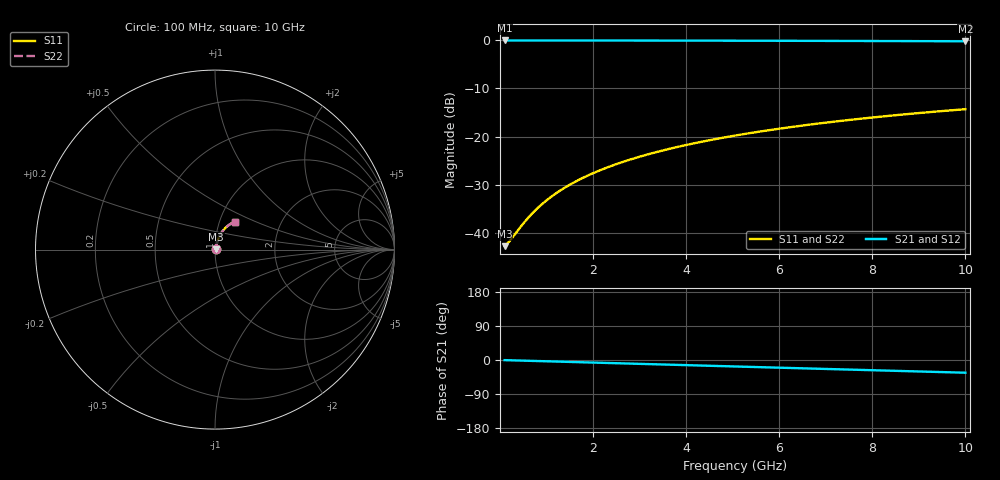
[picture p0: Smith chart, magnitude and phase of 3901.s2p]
# Hz S RI R 50.00
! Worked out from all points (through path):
!   100 points, 100 MHz to 10 GHz, reference 50 ohm
!   highest |S21| = -0.06 dB at 100 MHz (marker M1); lowest = -0.2 dB at 10 GHz (marker M2)
!   group delay of S21, straight-line fit = 9.33 ps
!   lowest |S11| = -42.7 dB at 100 MHz (marker M3), VSWR 1.01, Z = 50.7 + j0.205 ohm
!   |S11| at or under -10 dB: start of sweep to end of sweep
!   |S22| runs from -42.7 to -14.3 dB; largest |S21 - S12| = 0
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1e8  0.00704 0.00202  0.993 -0.00588  0.993 -0.00588  0.00704 0.00202
2e8  0.00712 0.00404  0.9928 -0.0118  0.9928 -0.0118  0.00712 0.00404
5e8  0.00745 0.0101  0.9923 -0.0294  0.9923 -0.0294  0.00745 0.0101
6e8  0.0076 0.0121  0.9921 -0.0352  0.9921 -0.0352  0.0076 0.0121
7e8  0.00777 0.0141  0.9918 -0.0411  0.9918 -0.0411  0.00777 0.0141
9e8  0.00819 0.0181  0.9912 -0.0528  0.9912 -0.0528  0.00819 0.0181
1.1e9  0.00869 0.0221  0.9904 -0.0645  0.9904 -0.0645  0.00869 0.0221
1.3e9  0.00929 0.0261  0.9894 -0.0762  0.9894 -0.0762  0.00929 0.0261
1.5e9  0.00998 0.0301  0.9883 -0.0879  0.9883 -0.0879  0.00998 0.0301
1.8e9  0.0112 0.0361  0.9863 -0.1054  0.9863 -0.1054  0.0112 0.0361
2.1e9  0.0126 0.0419  0.984 -0.1229  0.984 -0.1229  0.0126 0.0419
2.5e9  0.0148 0.0497  0.9804 -0.146  0.9804 -0.146  0.0148 0.0497
2.9e9  0.0174 0.0573  0.9762 -0.1691  0.9762 -0.1691  0.0174 0.0573
3.4e9  0.0211 0.0667  0.9702 -0.1976  0.9702 -0.1976  0.0211 0.0667
3.8e9  0.0244 0.074  0.9646 -0.2203  0.9646 -0.2203  0.0244 0.074
4.2e9  0.0281 0.0811  0.9585 -0.2428  0.9585 -0.2428  0.0281 0.0811
5.1e9  0.0376 0.0964  0.9427 -0.2927  0.9427 -0.2927  0.0376 0.0964
5.9e9  0.0473 0.1091  0.9263 -0.3359  0.9263 -0.3359  0.0473 0.1091
6.7e9  0.0582 0.1207  0.9078 -0.3781  0.9078 -0.3781  0.0582 0.1207
7.5e9  0.07 0.1313  0.8873 -0.4191  0.8873 -0.4191  0.07 0.1313
8.4e9  0.0844 0.1418  0.8619 -0.4637  0.8619 -0.4637  0.0844 0.1418
1e10  0.1122 0.1564  0.8113 -0.5384  0.8113 -0.5384  0.1122 0.1564
